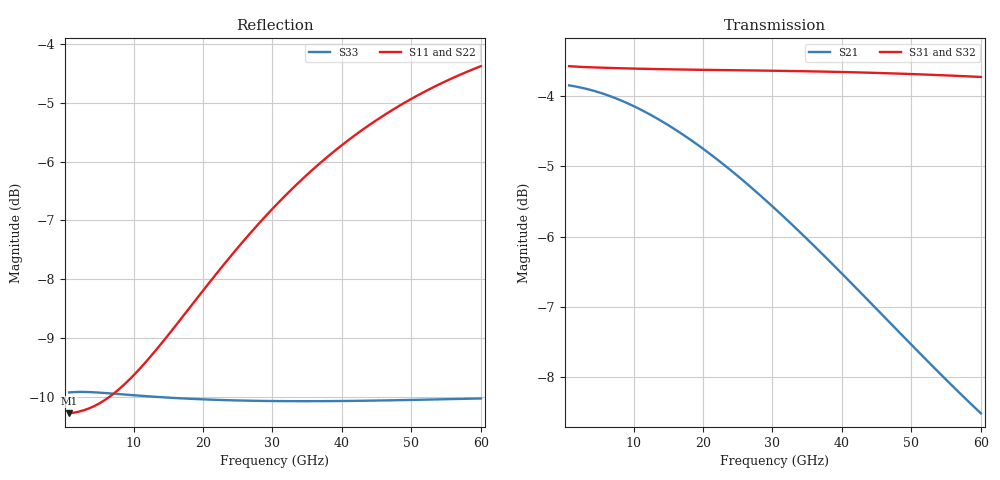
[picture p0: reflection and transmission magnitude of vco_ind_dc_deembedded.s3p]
! Created with skrf 2.1.0 (http://scikit-rf.org).
# GHz S DB R 50.0
!freq dBS11 angS11 dBS12 angS12 dBS13 angS13
! dBS21 angS21 dBS22 angS22 dBS23 angS23
! dBS31 angS31 dBS32 angS32 dBS33 angS33
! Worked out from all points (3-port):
!   82 points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, 731.7 MHz to 60 GHz, reference 50 ohm
!   strongest paths, dB at 731.7 MHz, 15.37 GHz, 30.73 GHz, 45.37 GHz, 60 GHz:
!     S31: -3.6, -3.6, -3.6, -3.7, -3.7
!     S32: -3.7, -3.7, -3.8, -3.9, -3.9
!     S21: -3.8, -4.4, -5.6, -7.1, -8.5
!   lowest |S11| = -10.3 dB at 731.7 MHz (marker M1), VSWR 1.88, Z = 26.6 + j1.03 ohm
!   |S11| at or under -10 dB: start of sweep to 6.596 GHz
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0.7317073  -10.29 176.7  -3.84 -1.6  -3.57 -0.3
           -3.84 -1.6  -10.50 176.6  -3.67 -0.3
           -3.57 -0.3  -3.67 -0.3  -9.93 179.5
4.390244  -10.16 160.5  -3.93 -9.4  -3.59 -1.5
          -3.93 -9.4  -10.35 159.6  -3.69 -1.7
          -3.59 -1.5  -3.69 -1.7  -9.93 176.5
8.04878  -9.86 145.3  -4.05 -16.9  -3.60 -2.7
         -4.05 -16.9  -9.99 143.9  -3.71 -3.1
         -3.60 -2.7  -3.71 -3.1  -9.96 173.7
16.09756  -8.79 116.8  -4.48 -33.0  -3.62 -5.2
          -4.48 -33.0  -8.76 114.7  -3.75 -5.9
          -3.62 -5.2  -3.75 -5.9  -10.03 167.9
23.41463  -7.69 96.2  -5.01 -47.1  -3.63 -7.6
          -5.01 -47.1  -7.57 94.1  -3.79 -8.4
          -3.63 -7.6  -3.79 -8.4  -10.06 162.9
30.73171  -6.71 79.4  -5.64 -60.8  -3.64 -9.9
          -5.64 -60.8  -6.53 77.5  -3.83 -10.9
          -3.64 -9.9  -3.83 -10.9  -10.08 158.0
37.31707  -5.98 66.7  -6.26 -72.9  -3.65 -12.1
          -6.26 -72.9  -5.77 64.9  -3.87 -13.1
          -3.65 -12.1  -3.87 -13.1  -10.08 153.7
43.90244  -5.38 55.6  -6.92 -85.0  -3.66 -14.4
          -6.92 -85.0  -5.16 54.0  -3.90 -15.3
          -3.66 -14.4  -3.90 -15.3  -10.07 149.4
51.95122  -4.81 43.7  -7.74 -99.7  -3.69 -17.2
          -7.74 -99.7  -4.59 42.2  -3.93 -18.0
          -3.69 -17.2  -3.93 -18.0  -10.05 144.3
60  -4.37 33.1  -8.52 -114.5  -3.72 -20.1
    -8.52 -114.5  -4.19 31.6  -3.95 -20.8
    -3.72 -20.1  -3.95 -20.8  -10.03 139.2
